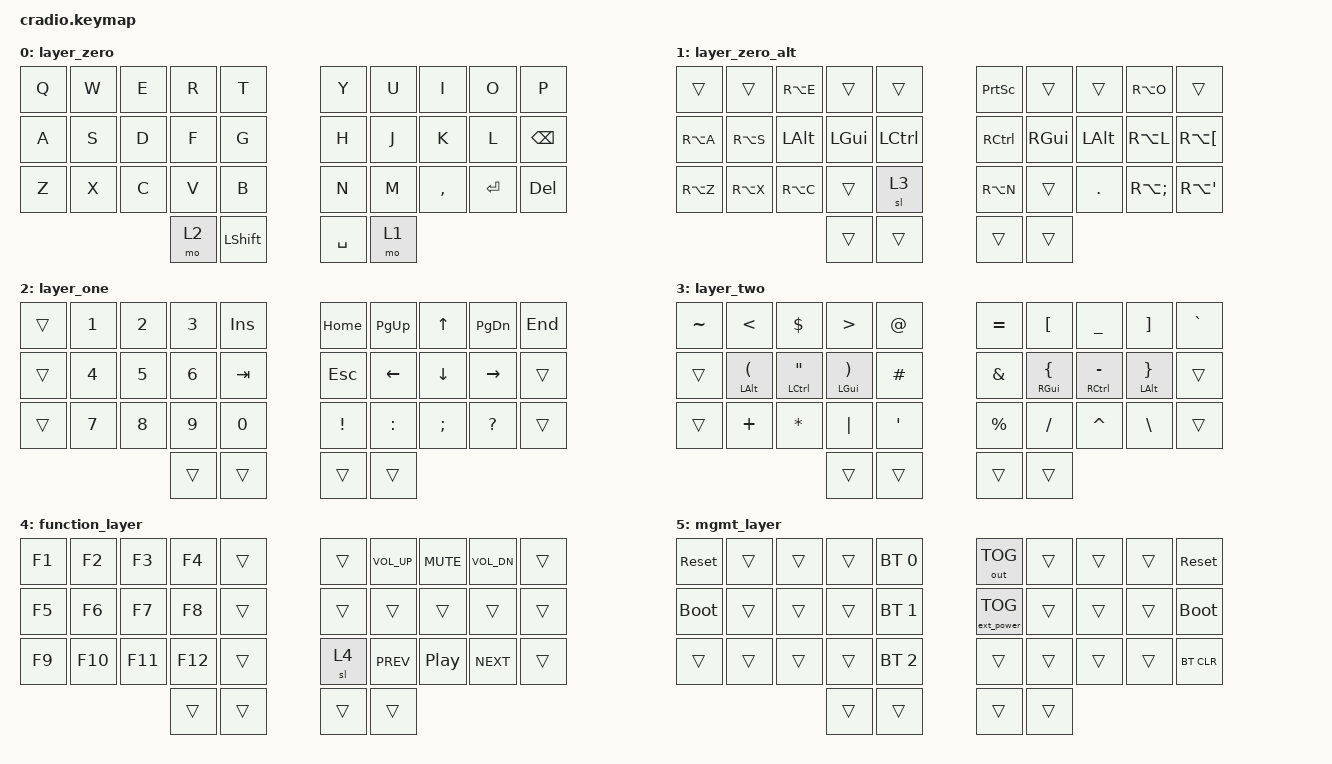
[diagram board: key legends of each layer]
// Copyright (c) 2022 The ZMK Contributors
// SPDX-License-Identifier: MIT

#include <behaviors.dtsi>
#include <dt-bindings/zmk/keys.h>
#include <dt-bindings/zmk/bt.h>
#include <dt-bindings/zmk/outputs.h>
#include <dt-bindings/zmk/ext_power.h>

#define ARING RA(LEFT_BRACKET)
#define ODIA RA(SEMI)
#define ADIA RA(SQT)

/ {
    behaviors {
        ht: hold_tap {
            label = "hold_tap";
            compatible = "zmk,behavior-hold-tap";
            #binding-cells = <2>;
            flavor = "tap-preferred";
            tapping-term-ms = <200>;
            quick-tap-ms = <150>;
            #global-quick-tap;
            bindings = <&kp>, <&kp>;
        };
        comma_dot: comma_dot {
            compatible = "zmk,behavior-mod-morph";
            label = "COMMA_DOT";
            #binding-cells = <0>;
            bindings = <&kp COMMA>, <&kp DOT>;
            mods = <(MOD_RALT|MOD_RSFT|MOD_LSFT)>;
        };
    };

    conditional_layers {
        compatible = "zmk,conditional-layers";
        tri_layer {
            if-layers = <1 2>;
            then-layer = <3>;
        };
    };

    keymap {
        compatible = "zmk,keymap";
        layer_zero {
            bindings = <
        //╭──────────┬──────────┬──────────┬──────────┬──────────╮   ╭──────────┬──────────┬──────────┬──────────┬──────────╮
        //│  Q       │  W       │  E       │  R       │  T       │   │  Y       │  U       │  I       │  O       │  P       │
            &kp Q      &kp W      &kp E      &kp R      &kp T          &kp Y      &kp U      &kp I       &kp O      &kp P
        //├──────────┼──────────┼──────────┼──────────┼──────────┤   ├──────────┼──────────┼──────────┼──────────┼──────────┤
        //│  A       │  S       │  D       │  F       │  G       │   │  H       │  J       │  K       │  L       │BACKSPACE │
            &kp A      &kp S      &kp D      &kp F      &kp G          &kp H      &kp J      &kp K       &kp L      &kp BACKSPACE
        //├──────────┼──────────┼──────────┼──────────┼──────────┤   ├──────────┼──────────┼──────────┼──────────┼──────────┤
        //│  Z       │  X       │  C       │  V       │  B       │   │  N       │  M       │  ,       │  ENTER   │  DELETE  │
            &kp Z      &kp X      &kp C      &kp V      &kp B          &kp N      &kp M      &kp COMMA  &kp ENTER   &kp DEL
        //╰──────────┴──────────┴──────────┼──────────┼──────────┤   ├──────────┼──────────┼──────────┴──────────┴──────────╯
        //                                 │ L2       │ Shift    │   │ Space    │ L1       │
                                             &mo 2      &kp LSHIFT     &kp SPACE  &mo 1
        //                                 ╰──────────┴──────────╯   ╰──────────┴──────────╯
            >;
        };

        layer_zero_alt {
            bindings = <
        //╭──────────┬──────────┬──────────┬──────────┬──────────╮   ╭──────────┬──────────┬──────────┬──────────┬──────────╮
        //│          │          │  Ę       │          │          │   │  PSCRN   │          │          │  Ó       │          │
            &trans      &trans    &kp RA(E)  &trans      &trans        &kp PSCRN  &trans     &trans     &kp RA(O)  &trans
        //├──────────┼──────────┼──────────┼──────────┼──────────┤   ├──────────┼──────────┼──────────┼──────────┼──────────┤
        //│  Ą       │  Ś       │  LALT    │  LGUI    │  LCTRL   │   │  RCTRL   │  RGUI    │  LALT    │  Ł       │  Å       │
            &kp RA(A)  &kp RA(S)   &kp LALT  &kp LGUI   &kp LCTRL     &kp RCTRL   &kp RGUI  &kp LALT   &kp RA(L)   &kp ARING
        //├──────────┼──────────┼──────────┼──────────┼──────────┤   ├──────────┼──────────┼──────────┼──────────┼──────────┤
        //│  Ż       │  Ź       │  Ć       │          │ &sl L_FN │   │  Ń       │          │  .       │  Ö       │  Ä       │
            &kp RA(Z)  &kp RA(X)  &kp RA(C)  &trans     &sl 3         &kp RA(N)   &trans    &kp PERIOD  &kp ODIA   &kp ADIA
        //╰──────────┴──────────┴──────────┼──────────┼──────────┤   ├──────────┼──────────┼──────────┴──────────┴──────────╯
                                             &trans      &trans       &trans      &trans
        //                                 ╰──────────┴──────────╯   ╰──────────┴──────────╯
            >;
        };
        

        // L1 (Right)
        layer_one {
            bindings = <
        //╭──────────┬──────────┬──────────┬──────────┬──────────╮   ╭──────────┬──────────┬──────────┬──────────┬──────────╮
        //│          │  1       │  2       │  3       │ INSERT   │   │ HOME     │ PAGE UP  │ UP       │ PAGE DOWN│ END      │
            &trans     &kp N1     &kp N2     &kp N3     &kp INS        &kp HOME  &kp PG_UP    &kp UP   &kp PG_DN   &kp END
        //├──────────┼──────────┼──────────┼──────────┼──────────┤   ├──────────┼──────────┼──────────┼──────────┼──────────┤
        //│          │  4       │  5       │  6       │ TAB      │   │ Esc      │ LEFT     │ DOWN     │ RIGHT    │          │
            &trans     &kp N4      &kp N5     &kp N6    &kp TAB       &kp ESC       &kp LEFT     &kp DOWN     &kp RIGHT   &trans
        //├──────────┼──────────┼──────────┼──────────┼──────────┤   ├──────────┼──────────┼──────────┼──────────┼──────────┤
        //│          │  7       │  8       │  9       │  0       │   │ !        │ :        │ ;        │ ?        │          │
            &trans     &kp N7     &kp N8     &kp N9     &kp N0         &kp EXCL   &kp COLON  &kp SEMI   &kp QMARK  &trans
        //╰──────────┴──────────┴──────────┼──────────┼──────────┤   ├──────────┼──────────┼──────────┴──────────┴──────────╯
                                           &trans       &trans        &trans     &trans
        //                                 ╰──────────┴──────────╯   ╰──────────┴──────────╯
            >;
         };

        // L2 (Left)
        layer_two {
            bindings = <
        //╭──────────┬──────────┬──────────┬──────────┬──────────╮   ╭──────────┬──────────┬──────────┬──────────┬──────────╮
        //│ ~        │ <        │ $        │  >       │ @        │   │ =        │ [        │ _        │ ]        │ `        │
            &kp TILDE  &kp LT     &kp DLLR   &kp GT     &kp AT         &kp EQL    &kp LBKT   &kp UNDER  &kp RBKT   &kp GRAVE
        //├──────────┼──────────┼──────────┼──────────┼──────────┤   ├──────────┼──────────┼──────────┼──────────┼──────────┤
        //│          │ (        │ "        │ )        │ #        │   │ &        │ {        │ -        │ }        │          │
        //│          │ /        │ /        │ /        │          │   │          │ /        │ /        │ /        │          │
        //│          │ LALT     │ LCTRL    │ LGUI     │          │   │          │ RGUI     │ RCTRL    │ LALT     │          │
            &trans &ht LALT LPRN   &ht LCTRL DQT &ht LGUI RPRN &kp HASH &kp AMPS &ht RGUI LBRC &ht RCTRL MINUS &ht LALT RBRC   &trans
        //├──────────┼──────────┼──────────┼──────────┼──────────┤   ├──────────┼──────────┼──────────┼──────────┼──────────┤
        //│          │ +        │ *        │ |        │ '        │   │ %        │ /        │ ^        │ \        │          │
            &trans  &kp PLUS   &kp ASTRK  &kp PIPE   &kp SQT        &kp PRCNT  &kp FSLH   &kp CARET  &kp BSLH     &trans
        //╰──────────┴──────────┴──────────┼──────────┼──────────┤   ├──────────┼──────────┼──────────┴──────────┴──────────╯
                                            &trans      &trans         &trans     &trans
        //                                 ╰──────────┴──────────╯   ╰──────────┴──────────╯
            >;
        };

        // L1 + L2 = L3

        function_layer {
            bindings = <
        //╭──────────┬──────────┬──────────┬──────────┬──────────╮   ╭──────────┬──────────┬──────────┬──────────┬──────────╮
        //│ F1       │ F2       │ F3       │ F4       │          │   │          │  Vol Up  │ Mute     │ Vol Down │          │
            &kp F1     &kp F2     &kp F3     &kp F4     &trans         &trans  &kp C_VOL_UP &kp C_MUTE &kp C_VOL_DN  &trans
        //├──────────┼──────────┼──────────┼──────────┼──────────┤   ├──────────┼──────────┼──────────┼──────────┼──────────┤
        //│ F5       │ F6       │ F7       │ F8       │          │   │          │          │          │          │          │
            &kp F5     &kp F6     &kp F7     &kp F8     &trans         &trans    &trans     &trans     &trans     &trans
        //├──────────┼──────────┼──────────┼──────────┼──────────┤   ├──────────┼──────────┼──────────┼──────────┼──────────┤
        //│ F9       │ F10      │ F11      │ F12      │          │   │Sticky L4 │ Prev     │Play/Pause│ Next     │          │
            &kp F9     &kp F10    &kp F11    &kp F12    &trans         &sl 4     &kp C_PREV &kp C_PP  &kp C_NEXT &trans
        //╰──────────┴──────────┴──────────┼──────────┼──────────┤   ├──────────┼──────────┼──────────┴──────────┴──────────╯
        //                                 │          │          │   │          │          │
                                             &trans     &trans         &trans     &trans
        //                                 ╰──────────┴──────────╯   ╰──────────┴──────────╯
            >;
        };

        // L1 + L2 -> Sticky L4
        mgmt_layer {
            bindings = <
        //╭──────────┬──────────┬──────────┬──────────┬──────────╮   ╭──────────┬──────────┬──────────┬──────────┬──────────╮
        //│ RESET    │          │          │          │PROFILE 0 │   │ BT/USB   │          │          │          │  RESET   │
          &sys_reset   &trans     &trans    &trans  &bt BT_SEL 0    &out OUT_TOG  &trans     &trans     &trans      &sys_reset
        //├──────────┼──────────┼──────────┼──────────┼──────────┤   ├──────────┼──────────┼──────────┼──────────┼──────────┤
        //│BOOTLOADER│          │          │          │PROFILE 1 │   │ EXT_PWR  │          │          │          │BOOTLOADER│
          &bootloader  &trans     &trans    &trans  &bt BT_SEL 1  &ext_power EP_TOG   &trans  &trans     &trans    &bootloader
        //├──────────┼──────────┼──────────┼──────────┼──────────┤   ├──────────┼──────────┼──────────┼──────────┼──────────┤
        //│          │          │          │          │PROFILE 2 │   │          │          │          │          │ CLEAR BT │
            &trans     &trans     &trans    &trans  &bt BT_SEL 2       &trans     &trans     &trans     &trans    &bt BT_CLR
        //╰──────────┴──────────┴──────────┼──────────┼──────────┤   ├──────────┼──────────┼──────────┴──────────┴──────────╯
        //                                 │          │          │   │          │          │
                                             &trans     &trans         &trans     &trans
        //                                 ╰──────────┴──────────╯   ╰──────────┴──────────╯
            >;
        };
    };
};
